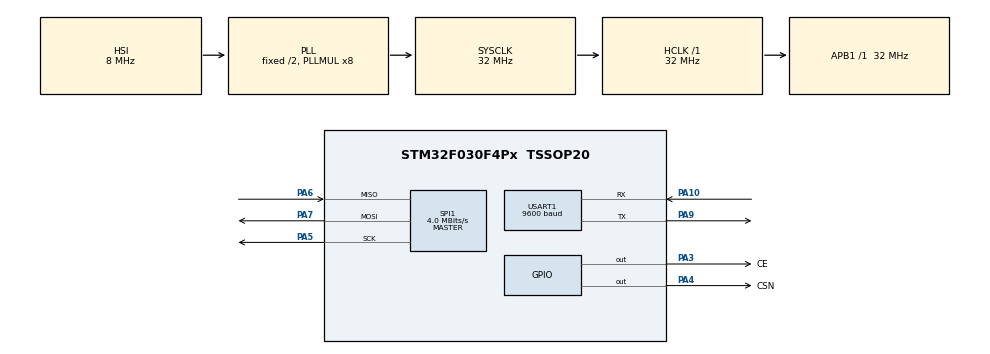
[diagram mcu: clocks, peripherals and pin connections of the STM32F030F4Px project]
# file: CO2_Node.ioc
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Dma.Request0=USART1_RX
Dma.Request1=USART1_TX
Dma.USART1_RX.0.Direction=DMA_PERIPH_TO_MEMORY
Dma.USART1_RX.0.Instance=DMA1_Channel3
Dma.USART1_RX.0.MemDataAlignment=DMA_MDATAALIGN_BYTE
Dma.USART1_RX.0.MemInc=DMA_MINC_ENABLE
Dma.USART1_RX.0.Mode=DMA_NORMAL
Dma.USART1_RX.0.PeriphDataAlignment=DMA_PDATAALIGN_BYTE
Dma.USART1_RX.0.PeriphInc=DMA_PINC_DISABLE
Dma.USART1_RX.0.Priority=DMA_PRIORITY_LOW
Dma.USART1_TX.1.Direction=DMA_MEMORY_TO_PERIPH
Dma.USART1_TX.1.Instance=DMA1_Channel2
Dma.USART1_TX.1.MemDataAlignment=DMA_MDATAALIGN_BYTE
Dma.USART1_TX.1.MemInc=DMA_MINC_ENABLE
Dma.USART1_TX.1.Mode=DMA_NORMAL
Dma.USART1_TX.1.PeriphDataAlignment=DMA_PDATAALIGN_BYTE
Dma.USART1_TX.1.PeriphInc=DMA_PINC_DISABLE
Dma.USART1_TX.1.Priority=DMA_PRIORITY_LOW
Mcu.Family=STM32F0
Mcu.Name=STM32F030F4Px
Mcu.Package=TSSOP20
NVIC.DMA1_Channel2_3_IRQn=true\:0\:0\:false\:false\:true\:false\:true\:true
NVIC.USART1_IRQn=true\:0\:0\:false\:false\:true\:true\:true\:true
PA10.Mode=Asynchronous
PA10.Signal=USART1_RX
PA13.Mode=Serial_Wire
PA13.Signal=SYS_SWDIO
PA14.Mode=Serial_Wire
PA14.Signal=SYS_SWCLK
PA3.GPIO_Label=CE
PA3.GPIO_Speed=GPIO_SPEED_FREQ_HIGH
PA3.PinState=GPIO_PIN_SET
PA3.Signal=GPIO_Output
PA4.GPIO_Label=CSN
PA4.GPIO_Speed=GPIO_SPEED_FREQ_HIGH
PA4.PinState=GPIO_PIN_SET
PA4.Signal=GPIO_Output
PA5.Mode=Full_Duplex_Master
PA5.Signal=SPI1_SCK
PA6.Mode=Full_Duplex_Master
PA6.Signal=SPI1_MISO
PA7.Mode=Full_Duplex_Master
PA7.Signal=SPI1_MOSI
PA9.Mode=Asynchronous
PA9.Signal=USART1_TX
ProjectManager.HeapSize=0x200
ProjectManager.StackSize=0x400
ProjectManager.TargetToolchain=MDK-ARM V5.32
RCC.AHBFreq_Value=32000000
RCC.APB1Freq_Value=32000000
RCC.APB1TimFreq_Value=32000000
RCC.HCLKFreq_Value=32000000
RCC.PLLMUL=RCC_PLL_MUL8
RCC.SYSCLKFreq_VALUE=32000000
RCC.SYSCLKSource=RCC_SYSCLKSOURCE_PLLCLK
SPI1.BaudRatePrescaler=SPI_BAUDRATEPRESCALER_8
SPI1.CalculateBaudRate=4.0 MBits/s
SPI1.DataSize=SPI_DATASIZE_8BIT
SPI1.Direction=SPI_DIRECTION_2LINES
SPI1.Mode=SPI_MODE_MASTER
SPI1.VirtualType=VM_MASTER
USART1.BaudRate=9600
USART1.VirtualMode-Asynchronous=VM_ASYNC
board=custom

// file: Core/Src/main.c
/* USER CODE BEGIN Header */
/**
 ******************************************************************************
 * @file    main.c
 * @brief   CO2_Node - MH-Z19 + NRF24L01
 * @version 3.0
 ******************************************************************************
 */
/* USER CODE END Header */

#include "main.h"
#include "dma.h"
#include "spi.h"
#include "usart.h"
#include "gpio.h"

/* USER CODE BEGIN Includes */

#include <stdint.h>
#include <stdio.h>
#include <string.h>

#include "NRF24L01.h"
#include "mhz19.h"

/* USER CODE END Includes */

/* =========================================================
   GLOBAL VARIABLES
   ========================================================= */

/* USER CODE BEGIN PV */

/* ================= MH-Z19 ================= */

MHZ19_Handle co2_sensor;

/* ================= NRF24 ================= */

uint8_t txAddress[5] =
{
    0xEE, 0xDD, 0xCC, 0xBB, 0xAA
};

uint8_t txData[32];

/* ================= SENSOR DATA ================= */

static uint16_t report_ppm = 0;

static MHZ19_Status report_status =
    MHZ19_STATUS_WARMING_UP;

static uint8_t request_pending = 0;
static uint8_t report_valid = 0;

/* ================= TIMING ================= */

#define CO2_REQUEST_INTERVAL_MS  2000U
#define NRF_REPORT_INTERVAL_MS   2000U

static uint32_t last_request_tick = 0U;
static uint32_t last_report_tick = 0U;
static uint32_t last_nrf_init_tick = 0U;

#define NRF_INIT_RETRY_INTERVAL_MS 1000U

/* ================= NRF STATUS ================= */

static uint8_t nrf_initialized = 0;

static uint8_t is_transmit = 0;
static uint8_t spi_status = 0;

/* ================= WATCH VARIABLES ================= */

/* General */
volatile uint32_t watch_counter = 0U;
volatile uint32_t watch_millis = 0U;
volatile uint32_t watch_tx_count = 0U;
volatile uint32_t watch_tx_fail_count = 0U;

/* SPI: config OK is separate from a completed HAL transaction. */
volatile uint8_t watch_spi_config_ok = 0U;
volatile uint8_t watch_spi_hal_ready = 0U;
volatile uint8_t watch_spi_last_transfer_ok = 0U;
volatile uint8_t watch_spi_last_hal_status = 0U;
volatile uint32_t watch_spi_hal_error = 0U;
volatile uint32_t watch_spi_transfers = 0U;
volatile uint32_t watch_spi_errors = 0U;
volatile uint32_t watch_nrf_status_errors = 0U;
volatile uint32_t watch_nrf_status_error_streak = 0U;

/* nRF24: detection/configuration are local; LINK_ACK requires a receiver. */
volatile uint8_t watch_nrf_initialized = 0U;
volatile uint8_t watch_nrf_detected = 0U;
volatile uint8_t watch_nrf_config_ok = 0U;
volatile uint8_t watch_nrf_init_stage = 0U;
volatile uint8_t watch_nrf_init_error = 0U;
volatile uint8_t watch_nrf_link_ack = 0U;
volatile uint8_t watch_nrf_tx_result = 0U;
volatile uint8_t watch_nrf_status = 0U;
volatile uint8_t watch_nrf_fifo = 0U;
volatile uint8_t watch_nrf_observe_tx = 0U;
volatile uint8_t watch_nrf_reg_status = 0U;
volatile uint8_t watch_nrf_reg_config = 0U;
volatile uint8_t watch_nrf_reg_rf_ch = 0U;
volatile uint8_t watch_nrf_reg_en_aa = 0U;
volatile uint8_t watch_nrf_reg_rf_setup = 0U;
volatile uint8_t watch_nrf_reg_setup_retr = 0U;
volatile uint8_t watch_nrf_reg_fifo_status = 0U;
volatile uint32_t watch_nrf_tx_attempts = 0U;
volatile uint32_t watch_nrf_tx_acks = 0U;
volatile uint32_t watch_nrf_tx_max_rt = 0U;
volatile uint32_t watch_nrf_tx_timeouts = 0U;

/* Set watch_nrf_test_request=1 in the debugger to send one fixed test frame. */
volatile uint8_t watch_nrf_test_request = 0U;
volatile uint8_t watch_nrf_test_done = 0U;
volatile uint8_t watch_nrf_test_result = 0U;

/* Sensor */
volatile uint16_t watch_co2 = 0U;
volatile uint8_t watch_sensor_ready = 0U;
volatile uint8_t watch_sensor_busy = 0U;
volatile uint8_t watch_request_pending = 0U;
volatile uint8_t watch_report_valid = 0U;
volatile uint8_t watch_sensor_status = 0U;
volatile uint32_t watch_request_count = 0U;
volatile uint32_t watch_response_count = 0U;

/* USER CODE END PV */

/* =========================================================
   FUNCTION PROTOTYPES
   ========================================================= */

void SystemClock_Config(void);

/* USER CODE BEGIN PFP */

static void CO2_Process(void);

static void NRF_Process(void);

static void Watch_Update(void);

static const char *MHZ19_GetErrorText(
    MHZ19_Status status
);

/* USER CODE END PFP */

/* =========================================================
   UART CALLBACKS
   ========================================================= */

/* USER CODE BEGIN 0 */

void HAL_UART_RxCpltCallback(UART_HandleTypeDef *huart)
{
    MHZ19_UART_RxCpltCallback(
        &co2_sensor,
        huart
    );
}

void HAL_UART_ErrorCallback(UART_HandleTypeDef *huart)
{
    MHZ19_UART_ErrorCallback(
        &co2_sensor,
        huart
    );
}

/* =========================================================
   ERROR TEXT
   ========================================================= */

static const char *MHZ19_GetErrorText(
    MHZ19_Status status
)
{
    switch (status)
    {
        case MHZ19_STATUS_TIMEOUT:
            return "TIMEOUT";

        case MHZ19_STATUS_UART_ERROR:
            return "UART_ERROR";

        case MHZ19_STATUS_BAD_HEADER:
            return "BAD_HEADER";

        case MHZ19_STATUS_BAD_CHECKSUM:
            return "BAD_CHECKSUM";

        case MHZ19_STATUS_WARMING_UP:
            return "WARMUP";

        case MHZ19_STATUS_BUSY:
            return "BUSY";

        case MHZ19_STATUS_INVALID_ARG:
            return "INVALID_ARG";

        default:
            return "NO_VALID_DATA";
    }
}

/* =========================================================
   CO2 PROCESS
   ========================================================= */

static void CO2_Process(void)
{
    uint32_t now = HAL_GetTick();

    /*
     * Process UART data
     */

    MHZ19_Process(&co2_sensor);

    /*
     * Process completed measurement
     */

    if (request_pending &&
        !MHZ19_IsBusy(&co2_sensor))
    {
        report_status = MHZ19_GetStatus(&co2_sensor);

        if (report_status == MHZ19_STATUS_OK &&
            MHZ19_GetCO2(&co2_sensor, &report_ppm))
        {
            report_valid = 1;

            watch_response_count++;
        }
        else
        {
            report_valid = 0;
        }

        request_pending = 0;
    }

    /*
     * Request new measurement
     */

    if (MHZ19_IsReady(&co2_sensor) &&
        !MHZ19_IsBusy(&co2_sensor) &&
        !request_pending &&
        (uint32_t)(now - last_request_tick) >=
        CO2_REQUEST_INTERVAL_MS)
    {
        MHZ19_Status result;

        result = MHZ19_Request(&co2_sensor);

        last_request_tick = now;

        if (result == MHZ19_STATUS_OK)
        {
            request_pending = 1;

            watch_request_count++;
        }
        else
        {
            report_status = result;

            report_valid = 0;
        }
    }
}

/* =========================================================
   NRF TRANSMISSION PROCESS
   ========================================================= */

static void NRF_Process(void)
{
    uint32_t now = HAL_GetTick();

    /* Detect a disconnected device before waiting for the next app packet. */
    if ((nrf_initialized != 0U) &&
        ((nrf_spi_consecutive_errors >= 3U) ||
         (nrf_status_consecutive_errors >= 3U)))
    {
        nrf_initialized = 0U;
        nrf_detected = 0U;
        nrf_config_ok = 0U;
        is_transmit = 0U;
    }

    /* Retry initialization when the radio is absent or was disconnected. */
    if (nrf_initialized == 0U)
    {
        if ((uint32_t)(now - last_nrf_init_tick) < NRF_INIT_RETRY_INTERVAL_MS)
        {
            return;
        }

        last_nrf_init_tick = now;
        spi_status = NRF24_Init();

        if (spi_status != 0U)
        {
            nrf_initialized = NRF24_TxMode(txAddress, NRF24_CHANNEL);
        }
        else
        {
            nrf_initialized = 0U;
        }

        is_transmit = 0U;
        return;
    }

    /* A debugger can request a one-shot RF test without waiting for CO2. */
    if (watch_nrf_test_request != 0U)
    {
        uint8_t test_payload[NRF24_PAYLOAD_SIZE] = {0U};

        watch_nrf_test_request = 0U;
        watch_nrf_test_done = 0U;
        memcpy(test_payload, "NRF24_LINK_TEST",
               sizeof("NRF24_LINK_TEST") - 1U);
        test_payload[31] = (uint8_t)(now & 0xFFU);

        watch_nrf_test_result = NRF24_Transmit(test_payload);
        watch_nrf_test_done = 1U;
        is_transmit = watch_nrf_test_result;

        if (watch_nrf_test_result != 0U)
        {
            watch_tx_count++;
        }
        else
        {
            watch_tx_fail_count++;
        }

        /* Re-enter initialization if the SPI bus itself repeatedly fails. */
        if ((nrf_spi_consecutive_errors >= 3U) ||
            (nrf_status_consecutive_errors >= 3U))
        {
            nrf_initialized = 0U;
            nrf_detected = 0U;
            nrf_config_ok = 0U;
        }
        return;
    }

    if ((uint32_t)(now - last_report_tick) < NRF_REPORT_INTERVAL_MS)
    {
        return;
    }

    last_report_tick = now;
    memset(txData, 0, sizeof(txData));

    if (!MHZ19_IsReady(&co2_sensor))
    {
        (void)snprintf((char *)txData, sizeof(txData), "CO2=ERR,WARMUP");
    }
    else if (report_valid != 0U)
    {
        (void)snprintf((char *)txData, sizeof(txData), "CO2=%uppm",
                       (unsigned int)report_ppm);
    }
    else
    {
        const char *err = MHZ19_GetErrorText(report_status);

        if ((report_status == MHZ19_STATUS_OK) ||
            (report_status == MHZ19_STATUS_WARMING_UP))
        {
            err = "NO_VALID_DATA";
        }

        (void)snprintf((char *)txData, sizeof(txData), "CO2=ERR,%s", err);
    }

    if (NRF24_Transmit(txData) != 0U)
    {
        is_transmit = 1U;
        watch_tx_count++;
    }
    else
    {
        is_transmit = 0U;
        watch_tx_fail_count++;
    }

    if ((nrf_spi_consecutive_errors >= 3U) ||
        (nrf_status_consecutive_errors >= 3U))
    {
        nrf_initialized = 0U;
        nrf_detected = 0U;
        nrf_config_ok = 0U;
    }
}

/* =========================================================
   WATCH UPDATE
   ========================================================= */

static void Watch_Update(void)
{
    static uint32_t last_watch_tick = 0U;
    uint32_t now = HAL_GetTick();

    /* Avoid flooding the radio's SPI bus while the debugger is attached. */
    if ((uint32_t)(now - last_watch_tick) < 250U)
    {
        return;
    }
    last_watch_tick = now;

    watch_counter++;
    watch_millis = now;

    /* SPI hardware configuration and HAL state. */
    watch_spi_config_ok =
        ((hspi1.Init.Mode == SPI_MODE_MASTER) &&
         (hspi1.Init.Direction == SPI_DIRECTION_2LINES) &&
         (hspi1.Init.DataSize == SPI_DATASIZE_8BIT) &&
         (hspi1.Init.CLKPolarity == SPI_POLARITY_LOW) &&
         (hspi1.Init.CLKPhase == SPI_PHASE_1EDGE) &&
         (hspi1.Init.NSS == SPI_NSS_SOFT) &&
         (hspi1.Init.BaudRatePrescaler == SPI_BAUDRATEPRESCALER_8) &&
         (hspi1.Init.FirstBit == SPI_FIRSTBIT_MSB) &&
         (hspi1.Init.TIMode == SPI_TIMODE_DISABLE) &&
         (hspi1.Init.CRCCalculation == SPI_CRCCALCULATION_DISABLE)) ? 1U : 0U;
    watch_spi_hal_ready =
        (hspi1.State == HAL_SPI_STATE_READY) ? 1U : 0U;
    watch_spi_last_transfer_ok = nrf_spi_last_transfer_ok;
    watch_spi_last_hal_status = nrf_spi_last_hal_status;
    watch_spi_hal_error = nrf_spi_last_hal_error;
    watch_spi_transfers = nrf_spi_transfer_count;
    watch_spi_errors = nrf_spi_error_count;
    watch_nrf_status_errors = nrf_status_error_count;
    watch_nrf_status_error_streak = nrf_status_consecutive_errors;

    /* Radio status and counters. */
    watch_nrf_initialized = nrf_initialized;
    watch_nrf_detected = nrf_detected;
    watch_nrf_config_ok = nrf_config_ok;
    watch_nrf_init_stage = nrf_init_stage;
    watch_nrf_init_error = nrf_init_error;
    watch_nrf_link_ack = (nrf_last_tx_result == NRF24_TX_ACK) ? 1U : 0U;
    watch_nrf_tx_result = nrf_last_tx_result;
    watch_nrf_status = nrf_last_status;
    watch_nrf_fifo = nrf_last_fifo;
    watch_nrf_observe_tx = nrf_last_observe_tx;
    watch_nrf_tx_attempts = nrf_tx_attempt_count;
    watch_nrf_tx_acks = nrf_tx_ack_count;
    watch_nrf_tx_max_rt = nrf_tx_max_rt_count;
    watch_nrf_tx_timeouts = nrf_tx_timeout_count;

    {
        static uint32_t last_radio_register_watch_tick = 0U;

        if ((nrf_detected != 0U) &&
            ((uint32_t)(now - last_radio_register_watch_tick) >= 1000U))
        {
            last_radio_register_watch_tick = now;
            watch_nrf_reg_status = NRF24_ReadRegister(NRF_REG_STATUS);
            watch_nrf_reg_config = NRF24_ReadRegister(NRF_REG_CONFIG);
            watch_nrf_reg_rf_ch = NRF24_ReadRegister(NRF_REG_RF_CH);
            watch_nrf_reg_en_aa = NRF24_ReadRegister(NRF_REG_EN_AA);
            watch_nrf_reg_rf_setup = NRF24_ReadRegister(NRF_REG_RF_SETUP);
            watch_nrf_reg_setup_retr = NRF24_ReadRegister(NRF_REG_SETUP_RETR);
            watch_nrf_reg_fifo_status = NRF24_ReadRegister(NRF_REG_FIFO_STATUS);
        }
    }

    /* Sensor */
    watch_co2 = report_ppm;
    watch_sensor_ready = MHZ19_IsReady(&co2_sensor);
    watch_sensor_busy = MHZ19_IsBusy(&co2_sensor);
    watch_request_pending = request_pending;
    watch_report_valid = report_valid;
    watch_sensor_status = (uint8_t)report_status;
}

/* USER CODE END 0 */

/* =========================================================
   MAIN
   ========================================================= */

int main(void)
{
    HAL_Init();

    SystemClock_Config();

    MX_GPIO_Init();

    MX_DMA_Init();

    MX_SPI1_Init();

    MX_USART1_UART_Init();

    /* USER CODE BEGIN 2 */

    /*
     * Initialize sensor
     */

    HAL_Delay(2000);

    MHZ19_Init(
        &co2_sensor,
        &huart1
    );

    /*
     * Initialize timing
     */

    last_request_tick = HAL_GetTick();

    last_report_tick = HAL_GetTick();

    /*
     * NRF initialization is performed by NRF_Process().
     * It retries once per second if the radio is absent or disconnected.
     */
    nrf_initialized = 0U;
    last_nrf_init_tick = 0U;

    /* USER CODE END 2 */

    /* =====================================================
       MAIN LOOP
       ===================================================== */

    while (1)
    {
        /*
         * MH-Z19
         */

        CO2_Process();

        /*
         * NRF24: initialization/recovery, diagnostics and transmissions.
         */
        NRF_Process();

        /*
         * Debug variables
         */

        Watch_Update();
    }
}

/* =========================================================
   SYSTEM CLOCK CONFIGURATION
   ========================================================= */

void SystemClock_Config(void)
{
    RCC_OscInitTypeDef RCC_OscInitStruct = {0};

    RCC_ClkInitTypeDef RCC_ClkInitStruct = {0};

    RCC_PeriphCLKInitTypeDef PeriphClkInit = {0};

    RCC_OscInitStruct.OscillatorType =
        RCC_OSCILLATORTYPE_HSI;

    RCC_OscInitStruct.HSIState =
        RCC_HSI_ON;

    RCC_OscInitStruct.HSICalibrationValue =
        RCC_HSICALIBRATION_DEFAULT;

    RCC_OscInitStruct.PLL.PLLState =
        RCC_PLL_ON;

    RCC_OscInitStruct.PLL.PLLSource =
        RCC_PLLSOURCE_HSI;

    RCC_OscInitStruct.PLL.PLLMUL =
        RCC_PLL_MUL8;

    RCC_OscInitStruct.PLL.PREDIV =
        RCC_PREDIV_DIV1;

    if (HAL_RCC_OscConfig(&RCC_OscInitStruct) != HAL_OK)
    {
        Error_Handler();
    }

    RCC_ClkInitStruct.ClockType =
        RCC_CLOCKTYPE_HCLK |
        RCC_CLOCKTYPE_SYSCLK |
        RCC_CLOCKTYPE_PCLK1;

    RCC_ClkInitStruct.SYSCLKSource =
        RCC_SYSCLKSOURCE_PLLCLK;

    RCC_ClkInitStruct.AHBCLKDivider =
        RCC_SYSCLK_DIV1;

    RCC_ClkInitStruct.APB1CLKDivider =
        RCC_HCLK_DIV1;

    if (HAL_RCC_ClockConfig(
        &RCC_ClkInitStruct,
        FLASH_LATENCY_1) != HAL_OK)
    {
        Error_Handler();
    }

    PeriphClkInit.PeriphClockSelection =
        RCC_PERIPHCLK_USART1;

    PeriphClkInit.Usart1ClockSelection =
        RCC_USART1CLKSOURCE_PCLK1;

    if (HAL_RCCEx_PeriphCLKConfig(&PeriphClkInit) != HAL_OK)
    {
        Error_Handler();
    }
}

/* =========================================================
   ERROR HANDLER
   ========================================================= */

void Error_Handler(void)
{
    __disable_irq();

    while (1)
    {
    }
}
